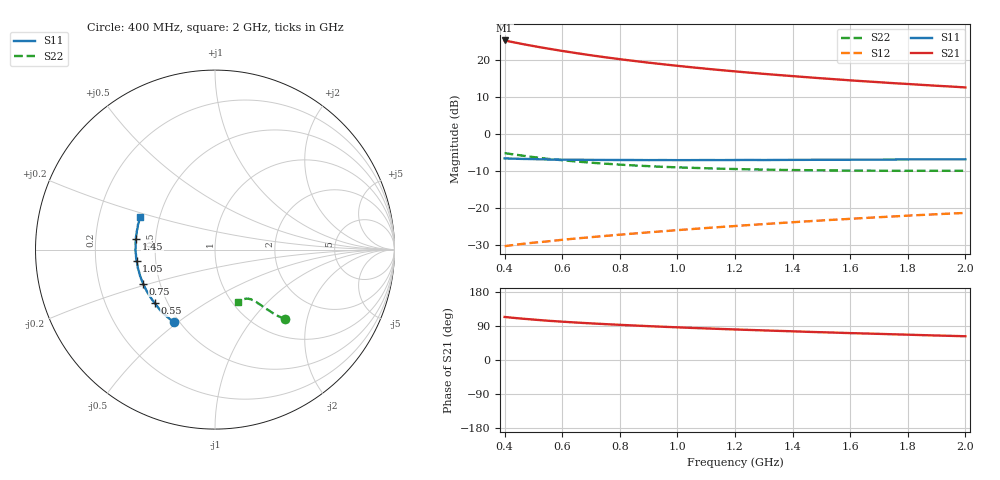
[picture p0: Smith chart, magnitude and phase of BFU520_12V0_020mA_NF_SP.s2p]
! Filename:  P:\Prog\Test\Noise\ATS_data\Testdata_Net\06 Compressed Noise after Statistics\BFU520_APG2013_37_A05_12p0V_020mA_NF_CM01_D.sf
! Date/Time: Fri 26/Apr/2013 14:13:14
! BFU520_APG2013_37_A05_12p0V_1to20mA_NF_CM01_Bias8_R.sf
! Noise Parameter Data File
! BFU520_APG2013_37_A05_12p0V_1to20mA_NF_CM01
! Date/time: Tue Apr 23 19:55:39 2013
! VAR V_out= 12.001000
! VAR I_out= 20.000000
! VAR V_in= 0.789400
! VAR I_in= 0.206650
! Device data file deembeded for feedlines and parallel
! Original file: \06 Compressed Noise after Statistics\BFU520_APG2013_37_A05_12p0V_020mA_NF_CM01_R.sf
! Feed-files: PR047V01_250413_Feed1.s2p, PR047V01_250413_Feed2.s2p
! Parallel-file: PR047V01_250413_Par.s2p
# MHz S MA R 50
!  Freq-MHz  S11-mag  S11-arg  S21-mag  S21-arg  S12-mag  S12-arg  S22-mag  S22-arg
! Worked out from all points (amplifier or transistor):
!   37 points, 400 MHz to 2 GHz, reference 50 ohm
!   highest |S21| = 25.2 dB at 400 MHz (marker M1)
!   |S21| within 3 dB of that: start of sweep to 614.6 MHz
!   unconditionally stable (mu >= 1): 1.466 GHz to end of sweep
!   at 500 MHz: K = 0.64, MSG = 26.5 dB, |S12| = -29.4 dB
!   at 1.1 GHz: K = 0.93, MSG = 21.5 dB, |S12| = -25.4 dB
!   at 2 GHz: K = 1.05, MAG = 15.6 dB, |S12| = -21.4 dB
!   lowest NFmin = 1.23 dB at 460 MHz
!   S11 on the Smith chart (normalised r, x): 400 MHz: 0.47, -0.49; 550 MHz: 0.43, -0.32; 750 MHz: 0.40, -0.19; 1.05 GHz: 0.39, -0.06; 1.45 GHz: 0.39, +0.06; 2 GHz: 0.39, +0.18
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400  0.4648 -119.1  18.15 113.5  0.03042 54.7  0.5485 -44.8
433  0.4606 -123.9  17.09 111.1  0.03162 54.4  0.525 -45.9
460  0.4576 -127.5  16.3 109.2  0.0326 54.2  0.5083 -46.6
500  0.4546 -132.5  15.26 106.7  0.03389 54.1  0.4849 -47.5
550  0.4495 -138.2  14.11 103.6  0.03533 54.2  0.4582 -48.2
600  0.4472 -142.8  13.12 101.1  0.03708 54.4  0.4394 -49.0
650  0.4458 -147.2  12.23 98.8  0.03869 54.6  0.4219 -49.8
700  0.4443 -150.9  11.45 96.7  0.04025 55.0  0.407 -50.2
750  0.4428 -154.7  10.76 94.6  0.04185 55.4  0.3947 -50.7
800  0.4425 -157.8  10.15 92.8  0.04345 55.8  0.3832 -51.3
850  0.4423 -160.9  9.601 91.0  0.04508 56.1  0.3734 -51.6
900  0.4409 -164.0  9.103 89.3  0.04671 56.5  0.3655 -52.2
950  0.4418 -166.6  8.662 87.8  0.04837 56.9  0.358 -52.7
1050  0.441 -171.7  7.884 84.7  0.05174 57.5  0.347 -53.8
1150  0.4412 -176.0  7.228 81.9  0.05518 58.0  0.3378 -54.7
1200  0.4422 -178.1  6.941 80.6  0.05688 58.3  0.3343 -55.3
1300  0.442 178.1  6.431 78.1  0.06041 58.7  0.3285 -56.4
1450  0.4446 172.5  5.792 74.4  0.06581 59.1  0.3225 -58.3
1500  0.4461 171.1  5.603 73.3  0.06758 59.1  0.3211 -59.0
1600  0.4463 167.6  5.256 71.0  0.07111 59.2  0.3187 -60.4
1750  0.4491 163.2  4.816 67.8  0.07657 59.3  0.3161 -62.6
2000  0.4524 156.6  4.217 62.6  0.08542 59.0  0.317 -66.7
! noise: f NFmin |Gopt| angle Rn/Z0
400  1.319  0.1407  -173.5  0.1226
460  1.225  0.1641  -172.8  0.1142
600  1.277  0.1626  -167.9  0.119
800  1.3  0.1809  -169.1  0.1089
1000  1.322  0.1994  -166.6  0.104
1200  1.36  0.2043  -165  0.1072
1400  1.374  0.1978  -163.2  0.1142
1600  1.395  0.2097  -157.7  0.1191
1800  1.362  0.2199  -157.4  0.1194
2000  1.449  0.218  -152.4  0.1342
